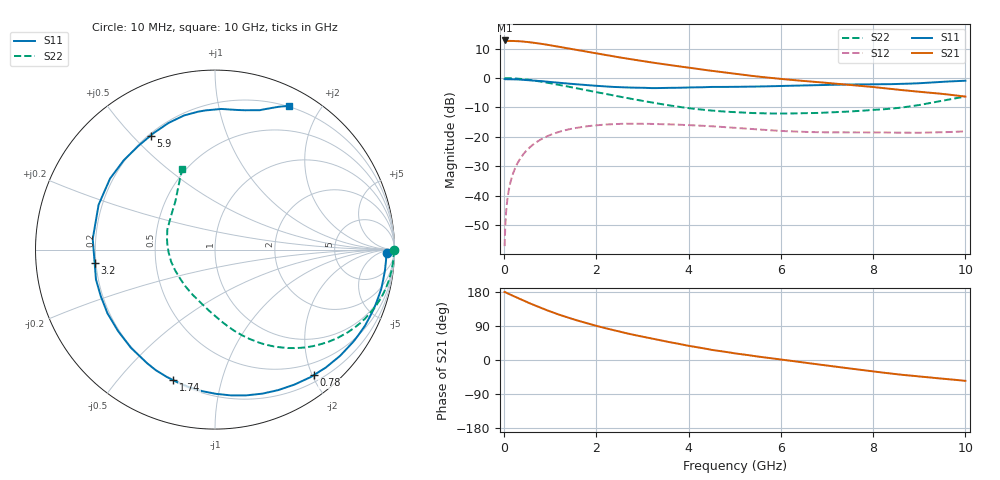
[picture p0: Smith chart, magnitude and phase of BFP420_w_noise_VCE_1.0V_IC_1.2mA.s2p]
! Infineon Technologies  Discrete & RF Semiconductors
! BFP420
! VCE =  1.0 V,  IC =  1.2 mA
! Common Emitter S-Parameters:  Jan 2016
# GHz  S  MA  R  50
!  f  S11  S21  S12  S22
! GHz  MAG  ANG  MAG  ANG  MAG  ANG  MAG  ANG
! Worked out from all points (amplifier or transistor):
!   233 points, 10 MHz to 10 GHz, reference 50 ohm
!   highest |S21| = 12.8 dB at 10 MHz (marker M1)
!   |S21| within 3 dB of that: start of sweep to 1.495 GHz
!   unconditionally stable (mu >= 1): 4.237 GHz to end of sweep
!   at 200 MHz: K = 0.02, MSG = 22.3 dB, |S12| = -32.1 dB
!   at 1.74 GHz: K = 0.32, MSG = 12.8 dB, |S12| = -16.5 dB
!   at 10 GHz: K = 1.31, MAG = 2.6 dB, |S12| = -18.1 dB
!   lowest NFmin = 0.53 dB at 900 MHz
!   S11 on the Smith chart (normalised r, x): 10 MHz: 39, -21; 780 MHz: 0.30, -2.02; 1.74 GHz: 0.20, -0.71; 3.2 GHz: 0.19, -0.05; 5.9 GHz: 0.21, +0.56; 10 GHz: 0.19, +1.62
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0.01  0.961 -1.2  4.342 179.4  0.0014 87.5  0.9952 -0.1
0.02  0.9539 -1.4  4.205 179.4  0.0025 87.7  0.9958 -0.8
0.03  0.9541 -2.1  4.215 178.7  0.0037 87.8  0.9957 -1.2
0.065  0.9544 -4.4  4.243 176.5  0.0081 87.1  0.9951 -2.8
0.18  0.9515 -12.1  4.258 170.1  0.0224 82.5  0.9887 -7.8
0.34  0.9409 -22.9  4.203 161.2  0.0419 75.8  0.9701 -14.5
0.5  0.9261 -33.6  4.098 152.6  0.0605 69.2  0.9413 -20.9
0.78  0.8896 -51.9  3.836 138.3  0.0893 57.9  0.8753 -31.4
1  0.8583 -65.8  3.601 128.0  0.1083 49.9  0.817 -38.8
1.2  0.8306 -77.9  3.38 119.3  0.1227 43.1  0.7635 -44.9
1.68  0.7699 -104.7  2.896 100.9  0.1475 28.8  0.6449 -57.3
1.74  0.7634 -107.8  2.838 98.8  0.1497 27.2  0.6317 -58.7
2.4  0.7055 -140.0  2.309 77.8  0.1657 11.4  0.5014 -72.4
2.8  0.6873 -157.8  2.053 66.6  0.1681 3.4  0.4371 -80.1
3.2  0.6747 -173.5  1.836 56.8  0.1664 -3.4  0.3849 -87.3
3.4  0.6778 178.8  1.743 51.7  0.1653 -6.7  0.3617 -91.4
4  0.695 158.9  1.503 37.4  0.1594 -14.8  0.3079 -104.6
5.1  0.7114 133.7  1.151 16.0  0.1414 -25.0  0.2607 -130.3
5.9  0.7293 119.5  0.983 2.9  0.1279 -28.2  0.2499 -149.7
6.8  0.7595 105.8  0.851 -11.5  0.1204 -28.7  0.2556 -172.1
8.4  0.7878 80.9  0.651 -36.0  0.1186 -30.4  0.3026 145.6
10  0.9005 62.8  0.484 -55.0  0.1244 -29.6  0.4844 112.4
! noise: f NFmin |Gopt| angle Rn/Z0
0.9  0.53  0.62  33  0.31
1.8  1.1  0.4  77  0.24
2.4  1.23  0.41  100  0.2
3  1.51  0.41  132  0.14
4  1.8  0.44  -175  0.09
5  2.23  0.45  -132  0.38
6  3.18  0.57  -116  0.44
